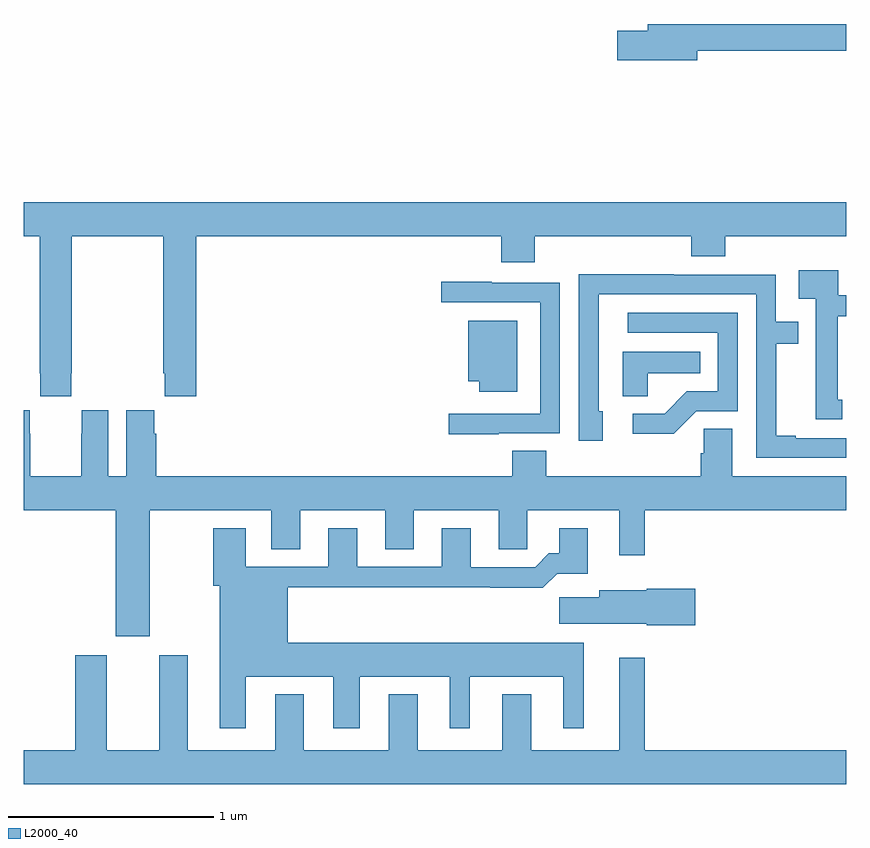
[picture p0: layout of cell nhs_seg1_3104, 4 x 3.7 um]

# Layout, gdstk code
import gdstk
lib = gdstk.Library(unit=1e-6, precision=1e-09)
def P(c, l, *ps):  # polygons
    for p in ps: c.add(gdstk.Polygon(p, *l))
L2000_40 = (2000, 40)

nhs_seg1_3104 = lib.new_cell('nhs_seg1_3104')
P(nhs_seg1_3104, L2000_40, [(282.274,549.97),(283,549.97),(283,550.099),(282.035,550.099),(282.035,550.065),(281.886,550.065),(281.886,549.923),(282.274,549.923)],
  [(279.231,548.401),(279.234,548.401),(279.234,549.068),(279.679,549.068),(279.679,548.401),(279.685,548.401),(279.685,548.289),(279.839,548.289),(279.839,549.068),(281.321,549.068),(281.321,548.94),(281.486,548.94),(281.486,549.068),(282.245,549.068),(282.245,548.969),(282.41,548.969),(282.41,549.068),(283,549.068),(283,549.232),(279,549.232),(279,549.068),(279.079,549.068),(279.079,548.401),(279.081,548.401),(279.081,548.289),(279.231,548.289)],
  [(282.979,548.271),(282.958,548.271),(282.958,548.678),(283,548.678),(283,548.78),(282.961,548.78),(282.961,548.902),(282.768,548.902),(282.768,548.762),(282.852,548.762),(282.852,548.666),(282.851,548.666),(282.851,548.178),(282.979,548.178)],
  [(283,548.085),(282.754,548.085),(282.754,548.098),(282.659,548.098),(282.659,548.544),(282.766,548.544),(282.766,548.652),(282.657,548.652),(282.657,548.88),(282.161,548.88),(282.161,548.882),(281.7,548.882),(281.7,548.073),(281.815,548.073),(281.815,548.217),(281.796,548.217),(281.796,548.784),(282.561,548.784),(282.561,547.989),(283,547.989)],
  [(281.311,548.109),(281.607,548.109),(281.607,548.841),(281.275,548.841),(281.275,548.845),(281.031,548.845),(281.031,548.745),(281.511,548.745),(281.511,548.205),(281.067,548.205),(281.067,548.105),(281.311,548.105)],
  [(282.27,548.217),(282.471,548.217),(282.471,548.694),(281.937,548.694),(281.937,548.598),(282.375,548.598),(282.375,548.313),(282.225,548.313),(282.117,548.205),(281.961,548.205),(281.961,548.108),(282.16,548.108)],
  [(281.401,548.656),(281.162,548.656),(281.162,548.363),(281.216,548.363),(281.216,548.312),(281.401,548.312)],
  [(282.034,548.402),(282.29,548.402),(282.29,548.506),(281.912,548.506),(281.912,548.29),(282.034,548.29)],
  [(279.613,547.736),(280.205,547.736),(280.205,547.546),(280.345,547.546),(280.345,547.736),(280.757,547.736),(280.757,547.546),(280.897,547.546),(280.897,547.736),(281.309,547.736),(281.309,547.546),(281.448,547.546),(281.448,547.736),(281.897,547.736),(281.897,547.515),(282.019,547.515),(282.019,547.736),(283,547.736),(283,547.9),(282.445,547.9),(282.445,548.132),(282.307,548.132),(282.307,548.012),(282.293,548.012),(282.293,547.9),(281.54,547.9),(281.54,548.024),(281.375,548.024),(281.375,547.9),(279.644,547.9),(279.644,548.108),(279.634,548.108),(279.634,548.221),(279.5,548.221),(279.5,547.9),(279.412,547.9),(279.412,548.221),(279.282,548.221),(279.282,548.108),(279.281,548.108),(279.281,547.9),(279.031,547.9),(279.031,548.108),(279.03,548.108),(279.03,548.221),(279,548.221),(279,547.736),(279.449,547.736),(279.449,547.122),(279.613,547.122)],
  [(280.081,546.926),(280.505,546.926),(280.505,546.675),(280.633,546.675),(280.633,546.926),(281.072,546.926),(281.072,546.675),(281.17,546.675),(281.17,546.926),(281.624,546.926),(281.624,546.675),(281.722,546.675),(281.722,547.09),(280.285,547.09),(280.285,547.36),(281.269,547.36),(281.269,547.358),(281.525,547.358),(281.594,547.427),(281.743,547.427),(281.743,547.648),(281.603,547.648),(281.603,547.525),(281.554,547.525),(281.487,547.458),(281.173,547.458),(281.173,547.648),(281.033,547.648),(281.033,547.461),(280.621,547.461),(280.621,547.648),(280.481,547.648),(280.481,547.461),(280.081,547.461),(280.081,547.648),(279.922,547.648),(279.922,547.368),(279.953,547.368),(279.953,546.675),(280.081,546.675)],
  [(282.265,547.353),(282.03,547.353),(282.03,547.345),(281.798,547.345),(281.798,547.313),(281.604,547.313),(281.604,547.184),(282.03,547.184),(282.03,547.175),(282.265,547.175)],
  [(283,546.568),(282.019,546.568),(282.019,547.018),(281.897,547.018),(281.897,546.568),(281.467,546.568),(281.467,546.841),(281.327,546.841),(281.327,546.568),(280.915,546.568),(280.915,546.841),(280.775,546.841),(280.775,546.568),(280.363,546.568),(280.363,546.841),(280.223,546.841),(280.223,546.568),(279.799,546.568),(279.799,547.03),(279.659,547.03),(279.659,546.568),(279.403,546.568),(279.403,547.03),(279.251,547.03),(279.251,546.568),(279,546.568),(279,546.404),(283,546.404)])

lib.write_gds('nhs_seg1_3104.gds')
